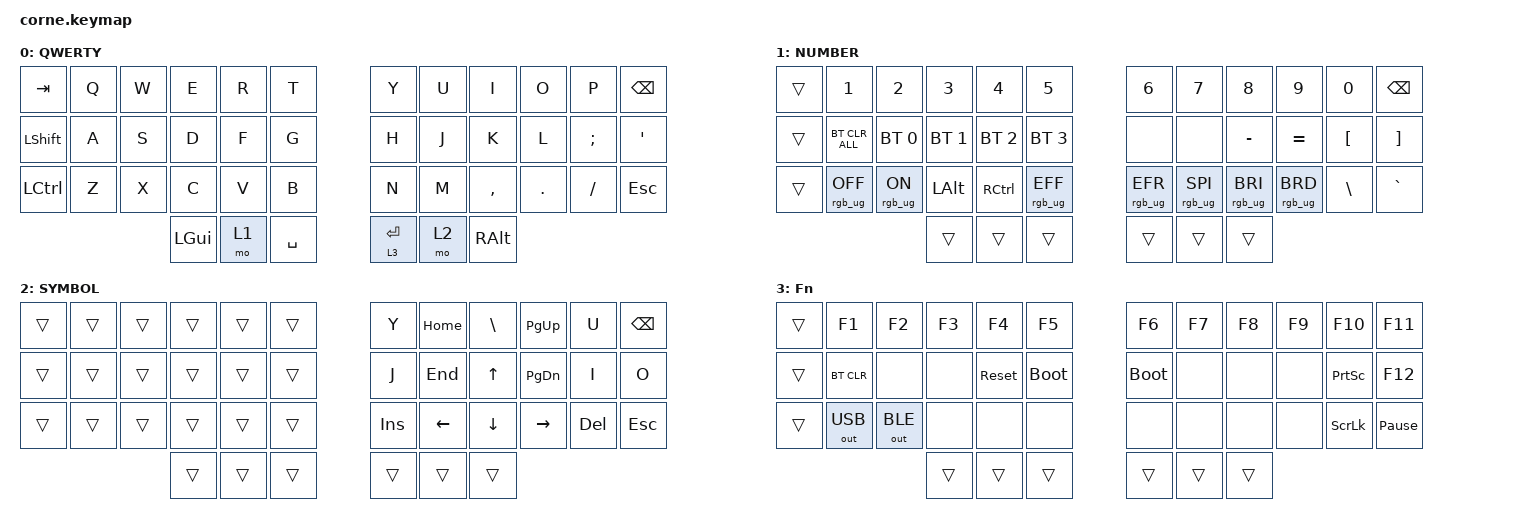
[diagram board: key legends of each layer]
/*
 * Copyright (c) 2020 The ZMK Contributors
 *
 * SPDX-License-Identifier: MIT
 */

#include <behaviors.dtsi>
#include <dt-bindings/zmk/bt.h>
#include <dt-bindings/zmk/keys.h>
#include <dt-bindings/zmk/ext_power.h>
#include <dt-bindings/zmk/outputs.h>
#include <dt-bindings/zmk/rgb.h>

 / {
    chosen {
        zmk,matrix_transform = &default_transform;
        // zmk,matrix_transform = &five_column_transform;
    };

    keymap {
        compatible = "zmk,keymap";

        default_layer {
            display-name = "QWERTY";

            bindings = <
                &kp TAB    &kp Q  &kp W  &kp E     &kp R  &kp T          &kp Y        &kp U  &kp I      &kp O    &kp P     &kp BSPC
                &kp LEFT_SHIFT   &kp A  &kp S  &kp D     &kp F  &kp G          &kp H        &kp J  &kp K      &kp L    &kp SEMI  &kp SQT
                &kp LCTRL  &kp Z  &kp X  &kp C     &kp V  &kp B          &kp N        &kp M  &kp COMMA  &kp DOT  &kp FSLH  &kp ESC
                            &kp LGUI  &mo 1  &kp SPC    &lt 3 ENTER  &mo 2  &kp RALT
            >;
        };

        lower_layer {
            display-name = "NUMBER";

            bindings = <
                &trans  &kp N1           &kp N2          &kp N3        &kp N4        &kp N5                 &kp N6           &kp N7           &kp N8           &kp N9           &kp N0    &kp BSPC
                &trans  &bt BT_CLR_ALL   &bt BT_SEL 0    &bt BT_SEL 1  &bt BT_SEL 2  &bt BT_SEL 3           &none           &none            &kp MINUS        &kp EQUAL        &kp LBKT      &kp RBKT
                &trans  &rgb_ug RGB_OFF  &rgb_ug RGB_ON  &kp LALT      &kp RCTRL     &rgb_ug RGB_EFF        &rgb_ug RGB_EFR  &rgb_ug RGB_SPI  &rgb_ug RGB_BRI  &rgb_ug RGB_BRD  &kp BACKSLASH   &kp GRAVE
                                     &trans        &trans        &trans              &trans          &trans          &trans
            >;
        };

        raise_layer {
            display-name = "SYMBOL";

            bindings = <
                &trans    &trans    &trans    &trans    &trans    &trans         &kp Y      &kp HOME        &kp BACKSLASH  &kp PAGE_UP     &kp U  &kp BSPC
                &trans    &trans    &trans    &trans    &trans    &trans         &kp J      &kp END         &kp UP_ARROW   &kp PAGE_DOWN   &kp I  &kp O
                &trans    &trans    &trans    &trans    &trans    &trans         &kp INSERT &kp LEFT_ARROW  &kp DOWN_ARROW &kp RIGHT_ARROW &kp DELETE &kp ESC
                                     &trans    &trans    &trans         &trans    &trans     &trans
            >;
        };

layer_3 {
    display-name = "Fn";

    bindings = <
        &trans  &kp F1      &kp F2  &kp F3  &kp F4      &kp F5         &kp F6       &kp F7  &kp F8  &kp F9  &kp F10          &kp F11
        &trans  &bt BT_CLR  &none  &none  &sys_reset  &bootloader   &bootloader  &none    &none    &none    &kp PSCRN        &kp F12
        &trans  &out OUT_USB  &out OUT_BLE  &none  &none   &none        &none       &none    &none    &none    &kp SLCK         &kp PAUSE_BREAK
                            &trans  &trans      &trans         &trans       &trans  &trans
         >;
      };
   };
};
